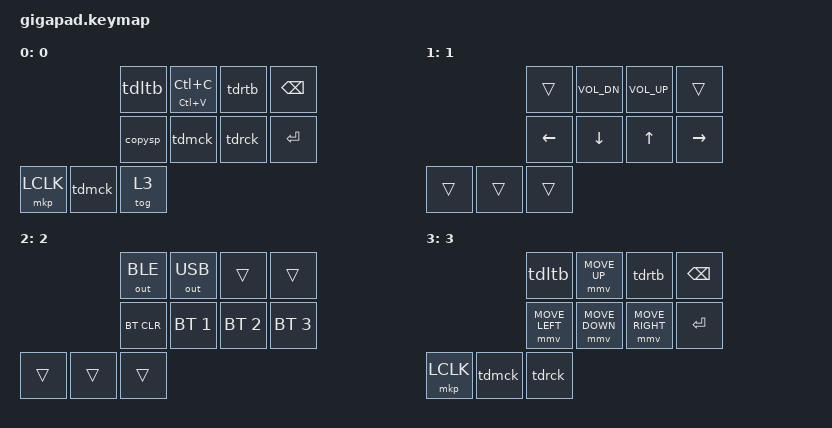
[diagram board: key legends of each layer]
#include <behaviors.dtsi>
#include <dt-bindings/zmk/keys.h>
#include <dt-bindings/zmk/bt.h>
#include <dt-bindings/zmk/outputs.h>
#include <dt-bindings/zmk/mouse.h>
#include <dt-bindings/zmk/mouse_settings.h>
#include <behaviors/mouse_keys.dtsi>
#include <behaviors/mouse_setting.dtsi>

#define SLSH   &hold_tap QMARK SLASH

  // Only apply these settings on the side that has the TP connected
  // (usually the right side)


   #define PS2_MOUSE_SAMPLING_RATE 100

   /*
    * Input Accelerator Config
    */

    / {
        input_accelerator_move: input_accelerator_move {
          status = "okay";
          compatible = "zmk,input-accelerator";

          acceleration-curve = "sigmoid";
          acceleration-factor-base = <80>;
          acceleration-factor-max = <130>;
          acceleration-factor-rate = <40>;
          acceleration-start-offset = <5>;
          max-speed = <50>;

          enable-interval-based-speed;
          input-default-sending-rate = <PS2_MOUSE_SAMPLING_RATE>;
        };

        input_accelerator_scroll: input_accelerator_scroll {
          status = "okay";
          compatible = "zmk,input-accelerator";

          acceleration-curve = "scroll";
          acceleration-factor-rate = <25>;
          acceleration-start-offset = <10>;
          max-speed = <20>;
          divisor = <20>;

          enable-interval-based-speed;
          input-default-sending-rate = <PS2_MOUSE_SAMPLING_RATE>;
        };
    };



   /*
    * Input Listener Config
    */

    &mouse_ps2_input_listener { 
       move-accelerator = <&input_accelerator_move>; 
       scroll-accelerator = <&input_accelerator_scroll>; 
       scroll-layers = <1>; 
       //scroll-layers-reverse-direction-horizontal; 
       scroll-layers-reverse-direction-vertical; 
        xy-swap; 
       // x-invert; 
       // y-invert; 
       // Set the layer that should automatically activate when the mouse is 
       // moving. 
       //layer-toggle = <1>; 
       // How long the mouse needs to move for before the layer is activated (to 
       // avoid accidental activations while typing) (Default: 250) 
       //layer-toggle-delay-ms = <250>; 
       // How long to wait, after the last mouse movement, before deactivating 
       // the layer (Default: 250) 
       //layer-toggle-timeout-ms = <250>; 
       // Require at least this amount of time since the last key tap to 
       // activate the layer toggle. Prevents activations of the mouse layer 
       // when you accidentally touch the TrackPoint while typing 
       //layer-toggle-require-prior-idle-ms = <200>; 
      
    };


   /*
    * Mouse Driver Settings
    */

    &mouse_ps2 {

      // How sensitive the TP is (Default: 128)
       tp-sensitivity = <256>;


      // The maximum mouse movement speed the TP will accelarate to
      // (Default: 97)
       tp-val6-upper-speed = <194>;


      // Negative Inertia (Default: 6)
      // Makes the TP feel more responsive and "overshoot" less.
      // tp-neg-inertia = <6>;


      // Enable clicking by tapping on the TP.
      // Not all TPs support this.
      // tp-press-to-select;
      // tp-press-to-select-threshold = <10>;


      // Adjust axis settings on the TP
      // Works only on some trackpoints, but may be properly considered by the
      // trackpoint's acceleration features (which may or may not have an
      // impact).
      //
      // Alternatively consider achieving the same effect using the
      //  `input-listener` settings below.
      // tp-xy-swap;
      // tp-x-invert;
      // tp-y-invert;


      // Set sampling rate
      //
      // The frequency at which the mouse samples and sends data (in hz).
      // The default rate is 100. You can try lowering it if you experience
      // connection errors.
      //
      // Higher values than 100 are no improvement in my experience, but will
      // increase battery life and potentially errors in transmissions.
      //
      // These values are allowed: 10,20,40,60,80,100,200
      // sampling-rate = <60>;


      // Disables clicking.
      // Useful when using the PS2 GPIO driver that is prone to
      // erros in transmissions to reduce accidental clicks.
      // disable-clicking;


      // Enable scroll wheel
      // For mouse devices supporting the Intellimouse extension. Not relevant
      // for trackpoints
      // scroll-mode;

    };

    // Enable PS/2 Mouse Devices
    // In `your_keyboard_right.overlay` all devices have `status = "disabled"`.
    // So,they are never compiled into the firmware.
    //
    // Here we enable them, but we do it within the #ifdef HAS_MOUSE_TP code
    // block, which prevents compilation and potential build errors when we
    // undefine HAS_MOUSE_TP in corne_tp.keymap
    &mouse_ps2  {
      status = "okay";
    };

    &mouse_ps2_input_listener {
      status = "okay";
    };



      &uart0 {
        status = "okay";
      };

      &uart_ps2 {
        status="okay";
      };

#define PS2_MOUSE_SAMPLING_RATE 100
 /* * Input Accelerator Config */ 
 / { 
      input_accelerator_move: input_accelerator_move { 
           status = "okay"; 
           compatible = "zmk,input-accelerator"; 
           acceleration-curve = "sigmoid"; 
           acceleration-factor-base = <10>;//60 
           acceleration-factor-max = <130>;//120 
           acceleration-factor-rate = <40>; 
           acceleration-start-offset = <0>;//7 
           max-speed = <500>;//50
           enable-interval-based-speed; 
           input-default-sending-rate = <PS2_MOUSE_SAMPLING_RATE>; 
      }; 
      input_accelerator_scroll: input_accelerator_scroll { 
           status = "okay"; 
           compatible = "zmk,input-accelerator"; 
           acceleration-curve = "scroll"; 
           acceleration-factor-rate = <25>;//20 
           acceleration-start-offset = <10>; 
           max-speed = <100>;//20 
           divisor = <20>; 
           enable-interval-based-speed; 
           input-default-sending-rate = <PS2_MOUSE_SAMPLING_RATE>; 
           };
  }; 

//tap dance tap dance tap dance tap dance ctap dance tap dance tap dance tap dance tap dance tap dance tap dance tap dance tap dance tap dance tap dance 

/ {
    behaviors {
        tdltb: tap_dance_ltb {                                 //left tab
            compatible = "zmk,behavior-tap-dance";
            #binding-cells = <0>;
            tapping-term-ms = <300>;
            bindings = <&hold_tap LA(LEFT) LS(COMMA)>, <&kp LC(LS(TAB))>;
        };
        tdrtb: tap_dance_rtb {                                 //right tab
            compatible = "zmk,behavior-tap-dance";
            #binding-cells = <0>;
            tapping-term-ms = <300>;
            bindings = <&hold_tap LA(RIGHT) LS(DOT)>, <&kp LC(TAB)>;
        };
        tdmck: tap_dance_mck {                                 //mclick
            compatible = "zmk,behavior-tap-dance";
            #binding-cells = <0>;
            tapping-term-ms = <300>;
            bindings = <&hold_tap_clk 1 MCLK>, <&kp LC(LS(T))>;
        };
        tdrck: tap_dance_rck {                                 //rclick
            compatible = "zmk,behavior-tap-dance";
            #binding-cells = <0>;
            tapping-term-ms = <300>;
            bindings = <&hold_tap_clk 1 RCLK>, <&kp LC(W)>;
        };
        tdtest: tap_dance_test {                                
            compatible = "zmk,behavior-tap-dance";
            #binding-cells = <0>;
            tapping-term-ms = <300>;
            bindings = <&kp A>, <&kp B>, <&kp C>;
        };

    };
};

//custom hold tap custom hold tap custom hold tap custom hold tap custom hold tap custom hold tap custom hold tap custom hold tap custom hold tap

/ {
behaviors {
  hold_tap: hold_tap {
    compatible = "zmk,behavior-hold-tap";
    #binding-cells = <2>;
    tapping-term-ms = <300>;
    quick-tap-ms = <0>;
    bindings = <&kp>, <&kp>;
  };
  hold_tap_clk: hold_tap_clk {
    compatible = "zmk,behavior-hold-tap";
    #binding-cells = <2>;
    tapping-term-ms = <300>;
    quick-tap-ms = <0>;
    bindings = <&mo>, <&mkp>;
  };

 };
};

//mod morph mod morph mod morph mod morph mod morph mod morph mod morph mod morph mod morph mod morph mod morph mod morph mod morph mod morph mod
//normal, with mod

/ {
    behaviors {
        slsh: slsh {
            compatible = "zmk,behavior-mod-morph";
            #binding-cells = <0>;
            bindings = <SLSH>, <&slshm>;
            mods = <(MOD_LSFT|MOD_LCTL)>;
        }; 
      
    };
};

//macros macros macros macros macros macros macros macros macros macros macros macros macros macros macros macros macros macros macros macros macros 

/ {
macros {

    copysp: copysp {
        label = "copysp";
        compatible = "zmk,behavior-macro";
        #binding-cells = <0>;
        bindings
            = <&macro_press &kp LCTRL>, 
              <&macro_tap &kp C &kp L &kp V &kp A &kp C>,
              <&macro_release &kp LCTRL>;
    };

    slshm: slshm {
        label = "slshm";
        compatible = "zmk,behavior-macro";
        #binding-cells = <0>;
        bindings
            = <&macro_tap &kp BSLH>;
    };      

  };
};

//combos combos combos combos combos combos combos combos combos combos combos combos combos combos combos combos combos combos combos combos combos 

/ {
    combos {
        compatible = "zmk,combos";

        combo_pgdn {
            timeout-ms = <175>;
            key-positions = <4 5>;
            bindings = <&kp PG_DN>;
        };
        combo_esc {
            timeout-ms = <175>;
            key-positions = <5 6>;
            bindings = <&kp ESC>;
        };
        combo_pgup {
            timeout-ms = <175>;
            key-positions = <6 7>;
            bindings = <&kp PG_UP>;
        };
        combo_reset {
            timeout-ms = <175>;
            key-positions = <4 7>;
            bindings = <&bootloader>;
        }; 
        combo_reset2 {
            timeout-ms = <175>;
            key-positions = <0 3>;
            bindings = <&bootloader>;
        };         
        combo_mute {
            timeout-ms = <175>;
            key-positions = <1 2>;
            bindings = <&kp PSCRN>;
        };  

    };
};

//keymap keymap keymap keymap keymap keymap keymap keymap keymap keymap keymap keymap keymap keymap keymap keymap keymap keymap keymap keymap keymap 

/ {

    keymap {
        compatible = "zmk,keymap";

        0 {
            bindings = <
                                        &tdltb       &hold_tap LC(V) LC(C)   &tdrtb       &kp BSPC
                                        &copysp      &tdmck                  &tdrck       &kp ENTER
              &mkp LCLK    &tdmck       &tog 3                                       
            >;
        };

        1 {
            bindings = <
                                        &trans       &kp C_VOL_DN            &kp C_VOL_UP  &trans
                                        &kp LEFT     &kp DOWN                &kp UP        &kp RIGHT
              &trans       &trans       &trans                                       
            >;
        };

        2 {
            bindings = <
                                        &out OUT_BLE            &out OUT_USB       &trans         &trans
                                        &bt BT_CLR              &bt BT_SEL 1       &bt BT_SEL 2   &bt BT_SEL 3
              &trans       &trans       &trans                                       
            >;
        };

        3 {
            bindings = <
                                        &tdltb                  &mmv MOVE_UP       &tdrtb            &kp BSPC
                                        &mmv MOVE_LEFT          &mmv MOVE_DOWN     &mmv MOVE_RIGHT   &kp ENTER
              &mkp LCLK    &tdmck       &tdrck                                       
            >;
        };        

    };
};

 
